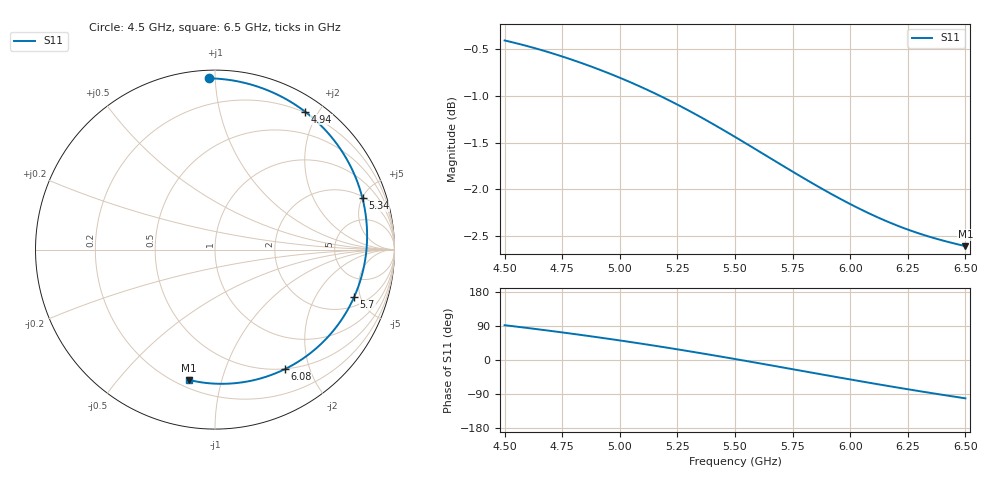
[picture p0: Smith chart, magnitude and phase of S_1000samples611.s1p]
! TOUCHSTONE file generated by CST MICROWAVE STUDIO
! Date and time: Fri Oct 28 18:40:47 2022
! Project name: L.cst
! Parameters = {Di=1.27; Epsilon_r=1.56; InnerDiameter=1.27; Length=2; Lf=10; Lg=60; OuterConductorThickness=0.2921; OuterDiameter=3.6; Wf=3; Wp=41.2; de=1.5; df=6.8; g=0.8; gx=2.55442; gy=3.38037; h=2.34; hf=1.524; px=9.78581; py=9.73619; w=9.7; wx=7.23139; wy=6.35582}
! Header version: 2018
! Port assignment regex: !\s*Touchstone port\s*([0-9]+)\s*=\s*(CST MWS port|CST DS port)\s*([0-9]+|Zmin|Zmax)\s*\(\"(.*)\"\)(\s*mode\s*([0-9]+))?.*
! Touchstone port assignment:
! Touchstone port 1 = CST MWS port 1 ("")
# GHz S DB R 50
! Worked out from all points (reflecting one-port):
!   101 points, 4.5 GHz to 6.5 GHz, reference 50 ohm
!   lowest |S11| = -2.6 dB at 6.5 GHz (marker M1), VSWR 6.71, Z = 12.3 - j39.6 ohm
!   phase of S11 starts at 92 deg and turns -193 deg over the sweep
!   S11 on the Smith chart (normalised r, x): 4.5 GHz: 0.04, +0.97; 4.94 GHz: 0.19, +1.83; 5.34 GHz: 2.15, +5.04; 5.7 GHz: 2.73, -4.38; 6.08 GHz: 0.50, -1.63; 6.5 GHz: 0.25, -0.79
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4.5  -0.40 91.9
4.58  -0.45 86.0
4.64  -0.49 81.4
4.76  -0.58 72.0
4.86  -0.67 63.7
4.94  -0.74 56.9
5  -0.80 51.6
5.06  -0.87 46.2
5.14  -0.96 38.7
5.2  -1.03 33.0
5.26  -1.10 27.2
5.34  -1.21 19.2
5.42  -1.32 11.0
5.5  -1.44 2.6
5.54  -1.50 -1.7
5.6  -1.59 -8.1
5.7  -1.74 -18.9
5.76  -1.82 -25.4
5.82  -1.91 -31.9
5.88  -2.00 -38.4
5.94  -2.08 -44.9
6  -2.16 -51.3
6.08  -2.26 -59.8
6.16  -2.34 -68.1
6.26  -2.44 -78.2
6.32  -2.49 -84.1
6.38  -2.53 -89.9
6.5  -2.61 -101.1
